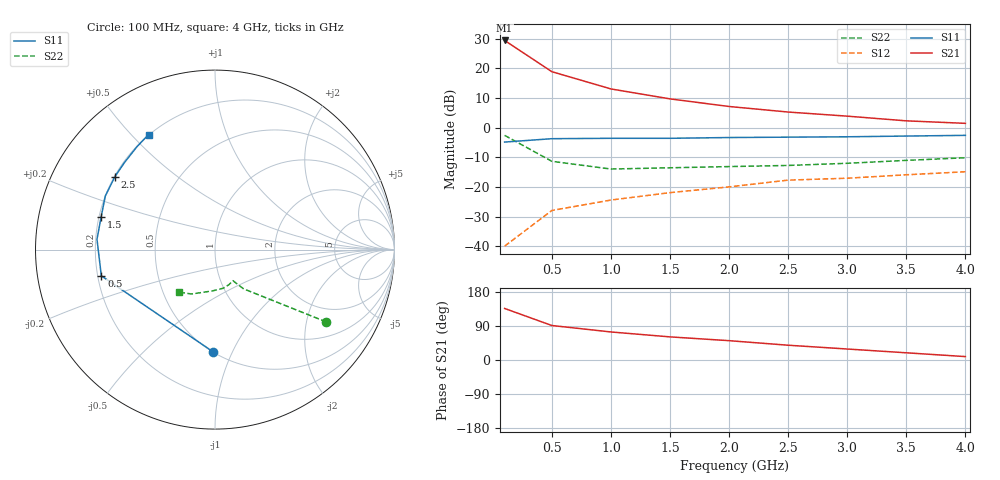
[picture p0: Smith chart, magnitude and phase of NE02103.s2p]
! FILENAME:  NE02103
! BIAS CONDITIONS: Vc = 10 V, Ic = 20 mA
# MHZ S MA R 50
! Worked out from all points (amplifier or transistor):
!   9 points, 100 MHz to 4 GHz, reference 50 ohm
!   highest |S21| = 29.4 dB at 100 MHz (marker M1)
!   |S21| within 3 dB of that: start of sweep to 213.9 MHz
!   unconditionally stable (mu >= 1): 975.6 MHz to 3.736 GHz
!   at 500 MHz: K = 0.77, MSG = 23.4 dB, |S12| = -28.0 dB
!   at 2 GHz: K = 1.11, MAG = 11.5 dB, |S12| = -20.0 dB
!   at 4 GHz: K = 0.95, MSG = 8.2 dB, |S12| = -14.9 dB
!   S11 on the Smith chart (normalised r, x): 100 MHz: 0.50, -0.85; 500 MHz: 0.21, -0.11; 1.5 GHz: 0.21, +0.13; 2.5 GHz: 0.20, +0.31; 4 GHz: 0.20, +0.56
100  0.57 -91.0  29.51 136.0  0.01 65.0  0.74 -33.0
500  0.65 -167.0  8.77 91.0  0.04 58.0  0.27 -54.0
1000  0.66 175.0  4.49 74.0  0.06 54.0  0.2 -60.0
1500  0.66 164.0  3.05 61.0  0.08 54.0  0.21 -68.0
2000  0.68 154.0  2.27 51.0  0.1 55.0  0.22 -78.0
2500  0.69 144.0  1.83 39.0  0.13 50.0  0.23 -93.0
3000  0.7 136.0  1.56 29.0  0.14 45.0  0.25 -107.0
3500  0.72 127.0  1.3 19.0  0.16 42.0  0.28 -118.0
4000  0.74 120.0  1.18 9.0  0.18 39.0  0.31 -130.0
